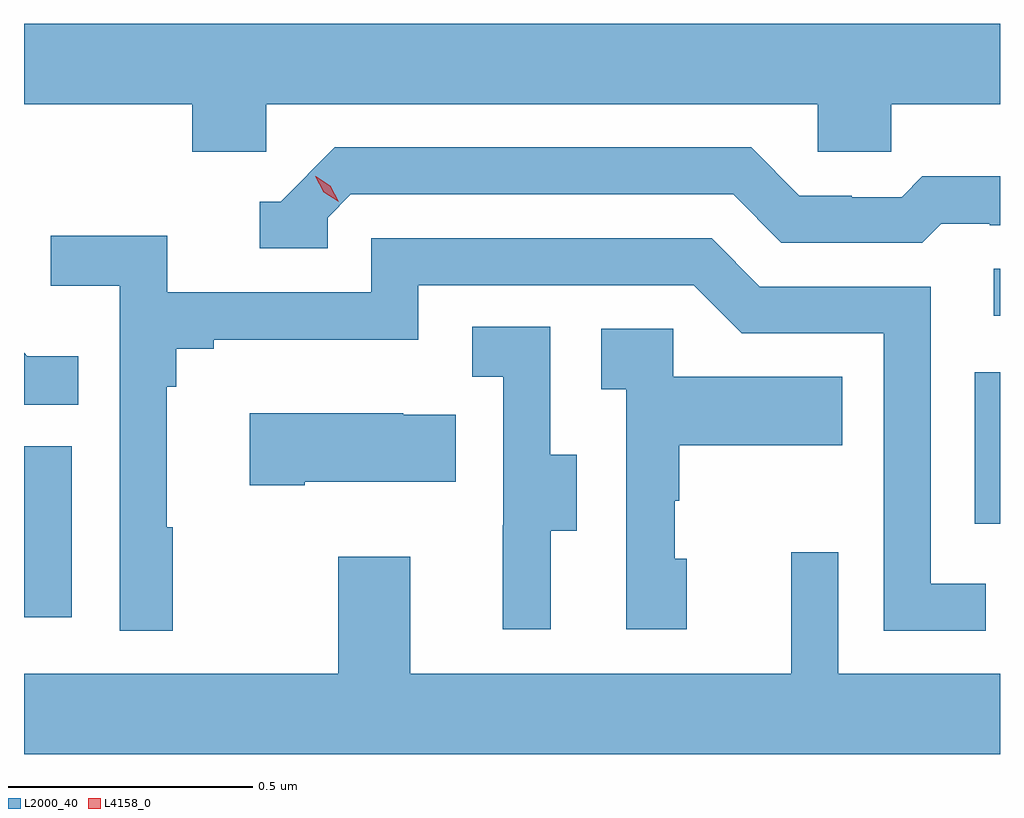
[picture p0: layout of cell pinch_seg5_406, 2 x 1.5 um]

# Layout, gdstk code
import gdstk
lib = gdstk.Library(unit=1e-6, precision=1e-09)
def R(c, l, rs):  # rectangles x0, y0, x1, y1
    for r in rs: c.add(gdstk.rectangle(r[:2], r[2:], *l))
def P(c, l, *ps):  # polygons
    for p in ps: c.add(gdstk.Polygon(p, *l))
L2000_40 = (2000, 40)
L4158_0 = (4158, 0)

pinch_seg5_406 = lib.new_cell('pinch_seg5_406')
R(pinch_seg5_406, L2000_40, [(1009.226,870.36,1009.324,870.711), (1011.174,870.552,1011.226,870.862), (1011.213,870.978,1011.226,871.074)])
P(pinch_seg5_406, L2000_40, [(1009.722,871.412),(1010.853,871.412),(1010.853,871.314),(1011.003,871.314),(1011.003,871.412),(1011.226,871.412),(1011.226,871.576),(1009.226,871.576),(1009.226,871.412),(1009.571,871.412),(1009.571,871.314),(1009.722,871.314)],
  [(1009.848,871.179),(1009.896,871.227),(1010.679,871.227),(1010.778,871.128),(1011.067,871.128),(1011.106,871.167),(1011.205,871.167),(1011.205,871.164),(1011.226,871.164),(1011.226,871.264),(1011.067,871.264),(1011.025,871.221),(1010.922,871.221),(1010.922,871.224),(1010.815,871.224),(1010.716,871.323),(1009.863,871.323),(1009.752,871.212),(1009.709,871.212),(1009.709,871.116),(1009.848,871.116)],
  [(1009.531,870.545),(1009.519,870.545),(1009.519,870.833),(1009.538,870.833),(1009.538,870.91),(1009.615,870.91),(1009.615,870.929),(1010.034,870.929),(1010.034,871.041),(1010.598,871.041),(1010.697,870.942),(1010.988,870.942),(1010.988,870.333),(1011.197,870.333),(1011.197,870.429),(1011.084,870.429),(1011.084,871.038),(1010.734,871.038),(1010.635,871.137),(1009.938,871.137),(1009.938,871.026),(1009.52,871.026),(1009.52,871.142),(1009.281,871.142),(1009.281,871.04),(1009.422,871.04),(1009.422,870.333),(1009.531,870.333)],
  [(1010.305,870.538),(1010.359,870.538),(1010.359,870.693),(1010.304,870.693),(1010.304,870.956),(1010.145,870.956),(1010.145,870.853),(1010.208,870.853),(1010.208,870.549),(1010.207,870.549),(1010.207,870.336),(1010.305,870.336)],
  [(1010.584,870.48),(1010.559,870.48),(1010.559,870.599),(1010.569,870.599),(1010.569,870.713),(1010.903,870.713),(1010.903,870.853),(1010.556,870.853),(1010.556,870.951),(1010.409,870.951),(1010.409,870.827),(1010.46,870.827),(1010.46,870.336),(1010.584,870.336)],
  [(1009.337,870.895),(1009.233,870.895),(1009.226,870.902),(1009.226,870.796),(1009.337,870.796)],
  [(1009.801,870.638),(1010.111,870.638),(1010.111,870.775),(1010.003,870.775),(1010.003,870.778),(1009.689,870.778),(1009.689,870.631),(1009.801,870.631)],
  [(1011.226,870.244),(1010.895,870.244),(1010.895,870.493),(1010.798,870.493),(1010.798,870.244),(1010.017,870.244),(1010.017,870.484),(1009.87,870.484),(1009.87,870.244),(1009.226,870.244),(1009.226,870.08),(1011.226,870.08)])
P(pinch_seg5_406, L4158_0, [(1009.871,871.212),(1009.84,871.231),(1009.823,871.264),(1009.823,871.264),(1009.824,871.264),(1009.854,871.245),(1009.871,871.212),(1009.871,871.212)])

lib.write_gds('pinch_seg5_406.gds')
